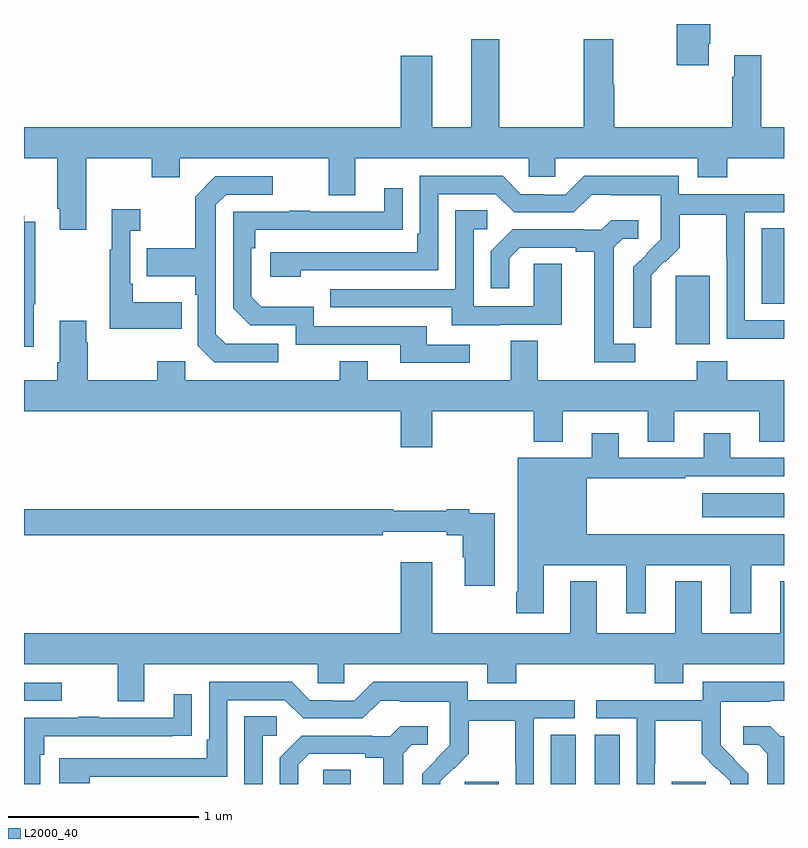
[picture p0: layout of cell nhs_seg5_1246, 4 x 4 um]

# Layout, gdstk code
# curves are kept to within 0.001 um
import gdstk
lib = gdstk.Library(unit=1e-6, precision=1e-09)
def R(c, l, rs):  # rectangles x0, y0, x1, y1
    for r in rs: c.add(gdstk.rectangle(r[:2], r[2:], *l))
def P(c, l, *ps):  # polygons
    for p in ps: c.add(gdstk.Polygon(p, *l))
L2000_40 = (2000, 40)

nhs_seg5_1246 = lib.new_cell('nhs_seg5_1246')
R(nhs_seg5_1246, L2000_40, [(188.574,854.799,188.719,854.873), (189.32,854.799,189.499,854.811), (189.773,854.799,189.904,855.059), (190.004,854.799,190.135,855.059), (190.409,854.799,190.588,854.811), (187,855.237,187.198,855.333), (190.569,856.202,191,856.33), (190.43,857.114,190.609,857.475), (190.883,857.326,191,857.723)])
P(nhs_seg5_1246, L2000_40, [(190.603,858.694),(190.611,858.694),(190.611,858.799),(190.436,858.799),(190.436,858.582),(190.603,858.582)],
  [(190.547,857.993),(190.7,857.993),(190.7,858.092),(191,858.092),(191,858.256),(190.879,858.256),(190.879,858.634),(190.739,858.634),(190.739,858.521),(190.727,858.521),(190.727,858.256),(190.106,858.256),(190.106,858.479),(190.101,858.479),(190.101,858.718),(189.946,858.718),(189.946,858.256),(189.501,858.256),(189.501,858.718),(189.353,858.718),(189.353,858.256),(189.148,858.256),(189.148,858.631),(188.984,858.631),(188.984,858.256),(187,858.256),(187,858.092),(187.175,858.092),(187.175,857.827),(187.187,857.827),(187.187,857.715),(187.327,857.715),(187.327,858.092),(187.672,858.092),(187.672,857.993),(187.819,857.993),(187.819,858.092),(188.603,858.092),(188.603,857.898),(188.743,857.898),(188.743,858.092),(189.657,858.092),(189.657,857.994),(189.795,857.994),(189.795,858.092),(190.547,858.092)],
  [(191,857.241),(190.794,857.241),(190.794,857.808),(191,857.808),(191,857.904),(190.446,857.904),(190.446,858.001),(189.949,858.001),(189.849,857.901),(189.734,857.901),(189.734,857.904),(189.615,857.904),(189.519,858),(189.084,858),(189.084,857.695),(189.071,857.695),(189.071,857.598),(188.295,857.598),(188.295,857.468),(188.456,857.468),(188.456,857.502),(189.18,857.502),(189.18,857.904),(189.483,857.904),(189.579,857.808),(189.894,857.808),(189.987,857.901),(190.087,857.901),(190.087,857.897),(190.35,857.897),(190.35,857.763),(190.352,857.763),(190.352,857.666),(190.206,857.518),(190.206,857.2),(190.302,857.2),(190.301,857.477),(190.371,857.547),(190.374,857.544),(190.451,857.621),(190.451,857.796),(190.696,857.796),(190.696,857.572),(190.698,857.572),(190.698,857.143),(191,857.143)],
  [(188.338,857.115),(188.061,857.115),(188.01,857.166),(188.01,857.847),(188.064,857.901),(188.308,857.901),(188.308,857.997),(188.007,857.997),(187.902,857.891),(187.902,857.619),(187.645,857.619),(187.645,857.471),(187.902,857.471),(187.902,857.375),(187.914,857.375),(187.914,857.106),(188.001,857.019),(188.338,857.019)],
  [(189.346,857.112),(189.121,857.112),(189.121,857.208),(188.526,857.208),(188.526,857.311),(188.249,857.311),(188.196,857.364),(188.196,857.618),(188.216,857.618),(188.216,857.715),(188.993,857.716),(188.993,857.935),(188.897,857.935),(188.897,857.811),(188.507,857.811),(188.507,857.816),(188.395,857.816),(188.395,857.811),(188.1,857.811),(188.1,857.304),(188.19,857.214),(188.43,857.214),(188.43,857.112),(188.981,857.112),(188.981,857.016),(189.346,857.016)],
  [(187.829,857.335),(187.573,857.335),(187.573,857.431),(187.56,857.431),(187.56,857.711),(187.612,857.711),(187.612,857.824),(187.463,857.824),(187.463,857.611),(187.452,857.611),(187.452,857.195),(187.829,857.195)],
  [(189.505,857.217),(189.829,857.217),(189.829,857.537),(189.684,857.537),(189.684,857.313),(189.366,857.313),(189.366,857.718),(189.439,857.718),(189.439,857.819),(189.27,857.819),(189.27,857.403),(188.611,857.403),(188.611,857.307),(189.251,857.307),(189.251,857.213),(189.505,857.213)],
  [(187.051,857.323),(187.059,857.323),(187.059,857.758),(187.002,857.758),(187.002,857.791),(187,857.791),(187,857.1),(187.051,857.1)],
  [(190.216,857.115),(190.105,857.115),(190.105,857.623),(190.152,857.67),(190.234,857.67),(190.234,857.767),(190.09,857.767),(190.038,857.715),(189.944,857.715),(189.944,857.718),(189.572,857.718),(189.456,857.602),(189.456,857.409),(189.553,857.409),(189.553,857.565),(189.61,857.622),(189.905,857.622),(189.905,857.6),(190.001,857.6),(190.001,857.019),(190.216,857.019)],
  [(188.809,857.023),(188.662,857.023),(188.662,856.924),(187.848,856.924),(187.848,857.023),(187.702,857.023),(187.702,856.924),(187.335,856.924),(187.335,857.123),(187.327,857.123),(187.327,857.236),(187.187,857.236),(187.187,857.02),(187.175,857.02),(187.175,856.924),(187,856.924),(187,856.76),(188.984,856.76),(188.984,856.572),(189.148,856.572),(189.148,856.76),(189.683,856.76),(189.683,856.601),(189.835,856.601),(189.835,856.76),(190.283,856.76),(190.283,856.6),(190.423,856.6),(190.423,856.76),(190.871,856.76),(190.871,856.6),(191,856.6),(191,856.924),(190.7,856.924),(190.7,857.023),(190.54,857.023),(190.54,856.924),(189.703,856.924),(189.703,857.132),(189.563,857.132),(189.563,856.924),(188.809,856.924)],
  [(189.736,855.95),(190.169,855.95),(190.169,855.699),(190.273,855.699),(190.273,855.95),(190.718,855.95),(190.718,855.699),(190.828,855.699),(190.828,855.95),(191,855.95),(191,856.114),(189.961,856.114),(189.961,856.407),(190.481,856.407),(190.481,856.419),(191,856.419),(191,856.515),(190.717,856.515),(190.717,856.645),(190.577,856.645),(190.577,856.515),(190.129,856.515),(190.129,856.645),(189.989,856.645),(189.989,856.516),(189.599,856.516),(189.599,855.811),(189.592,855.811),(189.592,855.699),(189.736,855.699)],
  [(189.478,856.224),(189.344,856.224),(189.344,856.244),(189.224,856.244),(189.224,856.237),(188.944,856.237),(188.944,856.244),(187,856.244),(187,856.108),(188.888,856.108),(188.888,856.127),(189.224,856.127),(189.224,856.108),(189.308,856.108),(189.308,855.993),(189.32,855.993),(189.32,855.843),(189.478,855.843)],
  [(190.319,855.329),(190.471,855.329),(190.471,855.428),(191,855.428),(191,855.865),(190.979,855.865),(190.979,855.592),(190.567,855.592),(190.567,855.865),(190.427,855.865),(190.427,855.592),(190.015,855.592),(190.015,855.865),(189.875,855.865),(189.875,855.592),(189.148,855.592),(189.148,855.967),(188.984,855.967),(188.984,855.592),(187,855.592),(187,855.428),(187.493,855.428),(187.493,855.234),(187.633,855.234),(187.633,855.428),(188.547,855.428),(188.547,855.33),(188.685,855.33),(188.685,855.428),(189.437,855.428),(189.437,855.329),(189.59,855.329),(189.59,855.428),(190.319,855.428)],
  [(190.32,854.908),(190.323,854.908),(190.323,855.132),(190.567,855.132),(190.567,854.957),(190.644,854.88),(190.647,854.883),(190.718,854.813),(190.718,854.799),(190.812,854.799),(190.812,854.854),(190.666,855.002),(190.666,855.099),(190.668,855.099),(190.668,855.233),(190.931,855.233),(190.931,855.237),(191,855.237),(191,855.337),(190.572,855.337),(190.572,855.24),(190.011,855.24),(190.011,855.144),(190.224,855.144),(190.224,854.799),(190.32,854.799)],
  [(189.191,854.813),(189.261,854.883),(189.264,854.88),(189.341,854.957),(189.341,855.132),(189.586,855.132),(189.586,854.908),(189.588,854.908),(189.588,854.799),(189.684,854.799),(189.684,855.144),(189.898,855.144),(189.898,855.24),(189.336,855.24),(189.336,855.337),(188.839,855.337),(188.739,855.237),(188.624,855.237),(188.624,855.24),(188.505,855.24),(188.409,855.336),(187.974,855.336),(187.974,855.031),(187.961,855.031),(187.961,854.934),(187.185,854.934),(187.185,854.804),(187.346,854.804),(187.346,854.838),(188.07,854.838),(188.07,855.24),(188.373,855.24),(188.469,855.144),(188.784,855.144),(188.877,855.237),(188.977,855.237),(188.977,855.233),(189.24,855.233),(189.24,855.099),(189.242,855.099),(189.242,855.002),(189.096,854.854),(189.096,854.799),(189.191,854.799)],
  [(187.086,854.954),(187.106,854.954),(187.106,855.051),(187.781,855.051),(187.781,855.052),(187.883,855.052),(187.883,855.271),(187.787,855.271),(187.787,855.147),(187.397,855.147),(187.397,855.152),(187.285,855.152),(187.285,855.147),(187,855.147),(187,854.799),(187.086,854.799)],
  [(188.256,855.054),(188.329,855.054),(188.329,855.155),(188.16,855.155),(188.16,854.799),(188.256,854.799)],
  [(188.443,854.901),(188.5,854.958),(188.795,854.958),(188.795,854.936),(188.891,854.936),(188.891,854.799),(188.995,854.799),(188.995,854.959),(189.042,855.006),(189.124,855.006),(189.124,855.103),(188.98,855.103),(188.928,855.051),(188.834,855.051),(188.834,855.054),(188.462,855.054),(188.346,854.938),(188.346,854.799),(188.443,854.799)],
  [(191,855.051),(190.98,855.051),(190.928,855.103),(190.785,855.103),(190.785,855.006),(190.866,855.006),(190.913,854.959),(190.913,854.799),(191,854.799)])

lib.write_gds('nhs_seg5_1246.gds')
